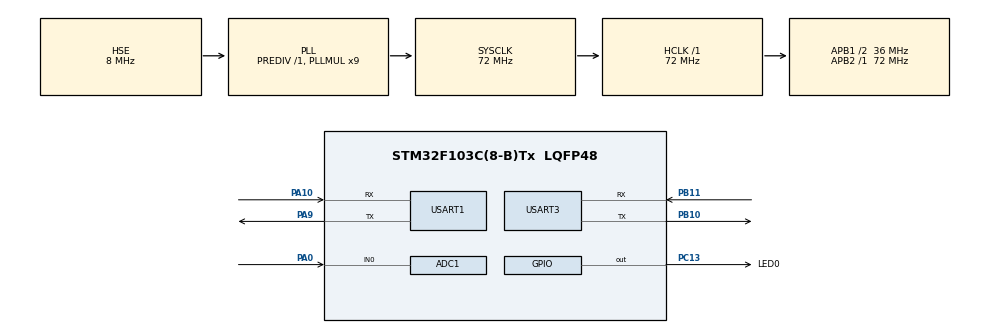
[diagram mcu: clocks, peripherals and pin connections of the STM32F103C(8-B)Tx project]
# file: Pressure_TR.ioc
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ADC1.Channel-3\#ChannelRegularConversion=ADC_CHANNEL_0
ADC1.ContinuousConvMode=ENABLE
ADC1.NbrOfConversionFlag=1
ADC1.Rank-3\#ChannelRegularConversion=1
ADC1.SamplingTime-3\#ChannelRegularConversion=ADC_SAMPLETIME_55CYCLES_5
ADC1.master=1
Dma.ADC1.2.Direction=DMA_PERIPH_TO_MEMORY
Dma.ADC1.2.Instance=DMA1_Channel1
Dma.ADC1.2.MemDataAlignment=DMA_MDATAALIGN_HALFWORD
Dma.ADC1.2.MemInc=DMA_MINC_ENABLE
Dma.ADC1.2.Mode=DMA_CIRCULAR
Dma.ADC1.2.PeriphDataAlignment=DMA_PDATAALIGN_HALFWORD
Dma.ADC1.2.PeriphInc=DMA_PINC_DISABLE
Dma.ADC1.2.Priority=DMA_PRIORITY_LOW
Dma.Request0=USART1_RX
Dma.Request1=USART1_TX
Dma.Request2=ADC1
Dma.Request3=USART3_RX
Dma.Request4=USART3_TX
Dma.USART1_RX.0.Direction=DMA_PERIPH_TO_MEMORY
Dma.USART1_RX.0.Instance=DMA1_Channel5
Dma.USART1_RX.0.MemDataAlignment=DMA_MDATAALIGN_BYTE
Dma.USART1_RX.0.MemInc=DMA_MINC_ENABLE
Dma.USART1_RX.0.Mode=DMA_NORMAL
Dma.USART1_RX.0.PeriphDataAlignment=DMA_PDATAALIGN_BYTE
Dma.USART1_RX.0.PeriphInc=DMA_PINC_DISABLE
Dma.USART1_RX.0.Priority=DMA_PRIORITY_LOW
Dma.USART1_TX.1.Direction=DMA_MEMORY_TO_PERIPH
Dma.USART1_TX.1.Instance=DMA1_Channel4
Dma.USART1_TX.1.MemDataAlignment=DMA_MDATAALIGN_BYTE
Dma.USART1_TX.1.MemInc=DMA_MINC_ENABLE
Dma.USART1_TX.1.Mode=DMA_NORMAL
Dma.USART1_TX.1.PeriphDataAlignment=DMA_PDATAALIGN_BYTE
Dma.USART1_TX.1.PeriphInc=DMA_PINC_DISABLE
Dma.USART1_TX.1.Priority=DMA_PRIORITY_LOW
Dma.USART3_RX.3.Direction=DMA_PERIPH_TO_MEMORY
Dma.USART3_RX.3.Instance=DMA1_Channel3
Dma.USART3_RX.3.MemDataAlignment=DMA_MDATAALIGN_BYTE
Dma.USART3_RX.3.MemInc=DMA_MINC_ENABLE
Dma.USART3_RX.3.Mode=DMA_NORMAL
Dma.USART3_RX.3.PeriphDataAlignment=DMA_PDATAALIGN_BYTE
Dma.USART3_RX.3.PeriphInc=DMA_PINC_DISABLE
Dma.USART3_RX.3.Priority=DMA_PRIORITY_LOW
Dma.USART3_TX.4.Direction=DMA_MEMORY_TO_PERIPH
Dma.USART3_TX.4.Instance=DMA1_Channel2
Dma.USART3_TX.4.MemDataAlignment=DMA_MDATAALIGN_BYTE
Dma.USART3_TX.4.MemInc=DMA_MINC_ENABLE
Dma.USART3_TX.4.Mode=DMA_NORMAL
Dma.USART3_TX.4.PeriphDataAlignment=DMA_PDATAALIGN_BYTE
Dma.USART3_TX.4.PeriphInc=DMA_PINC_DISABLE
Dma.USART3_TX.4.Priority=DMA_PRIORITY_LOW
Mcu.Family=STM32F1
Mcu.Name=STM32F103C(8-B)Tx
Mcu.Package=LQFP48
NVIC.DMA1_Channel1_IRQn=true\:0\:0\:false\:false\:true\:false\:true\:true
NVIC.DMA1_Channel2_IRQn=true\:0\:0\:false\:false\:true\:false\:true\:true
NVIC.DMA1_Channel3_IRQn=true\:0\:0\:false\:false\:true\:false\:true\:true
NVIC.DMA1_Channel4_IRQn=true\:1\:0\:true\:false\:true\:false\:true\:true
NVIC.DMA1_Channel5_IRQn=true\:1\:0\:true\:false\:true\:false\:true\:true
NVIC.PriorityGroup=NVIC_PRIORITYGROUP_4
NVIC.TIM3_IRQn=true\:1\:0\:true\:false\:true\:true\:true\:true
NVIC.USART1_IRQn=true\:0\:0\:false\:false\:true\:true\:true\:true
NVIC.USART3_IRQn=true\:0\:0\:false\:false\:true\:false\:true\:true
PA0-WKUP.Signal=ADCx_IN0
PA10.Mode=Asynchronous
PA10.Signal=USART1_RX
PA13.Mode=Trace_Asynchronous_SW
PA13.Signal=SYS_JTMS-SWDIO
PA14.Mode=Trace_Asynchronous_SW
PA14.Signal=SYS_JTCK-SWCLK
PA9.Mode=Asynchronous
PA9.Signal=USART1_TX
PB10.Mode=Asynchronous
PB10.Signal=USART3_TX
PB11.Mode=Asynchronous
PB11.Signal=USART3_RX
PB3.Mode=Trace_Asynchronous_SW
PB3.Signal=SYS_JTDO-TRACESWO
PC13-TAMPER-RTC.GPIO_Label=LED0
PC13-TAMPER-RTC.Signal=GPIO_Output
PD0-OSC_IN.Mode=HSE-External-Oscillator
PD0-OSC_IN.Signal=RCC_OSC_IN
PD1-OSC_OUT.Mode=HSE-External-Oscillator
PD1-OSC_OUT.Signal=RCC_OSC_OUT
ProjectManager.HeapSize=0x200
ProjectManager.StackSize=0x400
ProjectManager.TargetToolchain=CMake
RCC.ADCPresc=RCC_ADCPCLK2_DIV6
RCC.AHBFreq_Value=72000000
RCC.APB1CLKDivider=RCC_HCLK_DIV2
RCC.APB1Freq_Value=36000000
RCC.APB1TimFreq_Value=72000000
RCC.APB2Freq_Value=72000000
RCC.APB2TimFreq_Value=72000000
RCC.HCLKFreq_Value=72000000
RCC.PLLMUL=RCC_PLL_MUL9
RCC.PLLSourceVirtual=RCC_PLLSOURCE_HSE
RCC.SYSCLKFreq_VALUE=72000000
RCC.SYSCLKSource=RCC_SYSCLKSOURCE_PLLCLK
RCC.USBFreq_Value=72000000
SH.ADCx_IN0.0=ADC1_IN0,IN0
TIM3.Period=10000
TIM3.Prescaler=72
USART1.VirtualMode=VM_ASYNC
USART3.VirtualMode=VM_ASYNC
VP_TIM3_VS_ClockSourceINT.Mode=Internal
board=custom

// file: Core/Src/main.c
/* USER CODE BEGIN Header */
/**
  ******************************************************************************
  * @file           : main.c
  * @brief          : Main program body
  ******************************************************************************
  * @attention
  *
  * Copyright (c) 2025 STMicroelectronics.
  * All rights reserved.
  *
  * This software is licensed under terms that can be found in the LICENSE file
  * in the root directory of this software component.
  * If no LICENSE file comes with this software, it is provided AS-IS.
  *
  ******************************************************************************
  */
/* USER CODE END Header */
#include "main.h"
#include "adc.h"
#include "dma.h"
#include "tim.h"
#include "usart.h"
#include "gpio.h"

/* USER CODE BEGIN Includes */
#include "stdio.h"
#include "string.h"

#include "timer.h"
#include "uart_1.h"
#include "process.h"
/* USER CODE END Includes */

/* USER CODE BEGIN PTD */
uint16_t adc_buf[1];

uint16_t* getArrayADC() {
    return adc_buf;
}
/* USER CODE END PTD */

void SystemClock_Config(void);

int main(void)
{

  /* MCU Configuration--------------------------------------------------------*/

  /* Reset of all peripherals, Initializes the Flash interface and the Systick. */
  HAL_Init();

  /* Configure the system clock */
  SystemClock_Config();

  /* Initialize all configured peripherals */
  MX_GPIO_Init();
  MX_DMA_Init();
  MX_ADC1_Init();
  MX_USART1_UART_Init();
  MX_TIM3_Init();
  MX_USART3_UART_Init();
  /* USER CODE BEGIN 2 */

  /***********************************************************************
                  Related Variable Descriptions:
  1. Device_Index:
        Device ID, used for signal acquisition at the four leg terminals.
        Change the relevant device index for signal acquisition on different limbs.
        For example, when capturing the left front leg, use "strcpy(Device_Index, "LF");"
        -- Device_Index: LF, LH, RF, RH

  2. UART_1:
        For transmitting sensor signals (200Hz).
        -- UART_1: TX --> PA_9

  3. UART_3:
        For receiving sensor signals.
        -- UART_1: RX --> PB_11

  4. ADC1_IN1:
        For collecting analog signals from sensors.
        -- ADC1_IN0 --> PA_0
  ************************************************************************/

  // Device_Index: LF, LH, RF, RH
  strcpy(Device_Index, "LF");

  // Enable TIM3 timer interrupt
  HAL_TIM_Base_Start_IT(&htim3);

  // Enable idle receive interrupts for uart_1 and uart_3
  HAL_UART_Receive_DMA(&huart1, UsartType1.usartDMA_rxBuf, RECEIVELEN); // UART_1 DMA
  __HAL_UART_ENABLE_IT(&huart1, UART_IT_IDLE);
  HAL_UART_Receive_DMA(&huart3, UsartType3.usartDMA_rxBuf, RECEIVELEN); // UART_3 DMA
  __HAL_UART_ENABLE_IT(&huart3, UART_IT_IDLE);

  // Enable ADC IN0 sampling (DMA sampling) (ADC1_IN0 --> PA_0)
  HAL_ADC_Start_DMA(&hadc1, (uint32_t*) adc_buf, 1);

  /* USER CODE END 2 */

  /* Infinite loop */
  while (1)
  {

    /* USER CODE BEGIN 3 */

    // UART1_printf_DMA("ADC1 = %d \r\n", adc_buf[0]);
    // HAL_Delay(100);

    process_PressureData();

  }
  /* USER CODE END 3 */
}

void SystemClock_Config(void)
{
  RCC_OscInitTypeDef RCC_OscInitStruct = {0};
  RCC_ClkInitTypeDef RCC_ClkInitStruct = {0};
  RCC_PeriphCLKInitTypeDef PeriphClkInit = {0};

  /** Initializes the RCC Oscillators according to the specified parameters
  * in the RCC_OscInitTypeDef structure.
  */
  RCC_OscInitStruct.OscillatorType = RCC_OSCILLATORTYPE_HSE;
  RCC_OscInitStruct.HSEState = RCC_HSE_ON;
  RCC_OscInitStruct.HSEPredivValue = RCC_HSE_PREDIV_DIV1;
  RCC_OscInitStruct.HSIState = RCC_HSI_ON;
  RCC_OscInitStruct.PLL.PLLState = RCC_PLL_ON;
  RCC_OscInitStruct.PLL.PLLSource = RCC_PLLSOURCE_HSE;
  RCC_OscInitStruct.PLL.PLLMUL = RCC_PLL_MUL9;
  if (HAL_RCC_OscConfig(&RCC_OscInitStruct) != HAL_OK)
  {
    Error_Handler();
  }

  /** Initializes the CPU, AHB and APB buses clocks
  */
  RCC_ClkInitStruct.ClockType = RCC_CLOCKTYPE_HCLK|RCC_CLOCKTYPE_SYSCLK
                              |RCC_CLOCKTYPE_PCLK1|RCC_CLOCKTYPE_PCLK2;
  RCC_ClkInitStruct.SYSCLKSource = RCC_SYSCLKSOURCE_PLLCLK;
  RCC_ClkInitStruct.AHBCLKDivider = RCC_SYSCLK_DIV1;
  RCC_ClkInitStruct.APB1CLKDivider = RCC_HCLK_DIV2;
  RCC_ClkInitStruct.APB2CLKDivider = RCC_HCLK_DIV1;

  if (HAL_RCC_ClockConfig(&RCC_ClkInitStruct, FLASH_LATENCY_2) != HAL_OK)
  {
    Error_Handler();
  }
  PeriphClkInit.PeriphClockSelection = RCC_PERIPHCLK_ADC;
  PeriphClkInit.AdcClockSelection = RCC_ADCPCLK2_DIV6;
  if (HAL_RCCEx_PeriphCLKConfig(&PeriphClkInit) != HAL_OK)
  {
    Error_Handler();
  }
}

void Error_Handler(void)
{
  __disable_irq();
  while (1)
  {
  }
}
